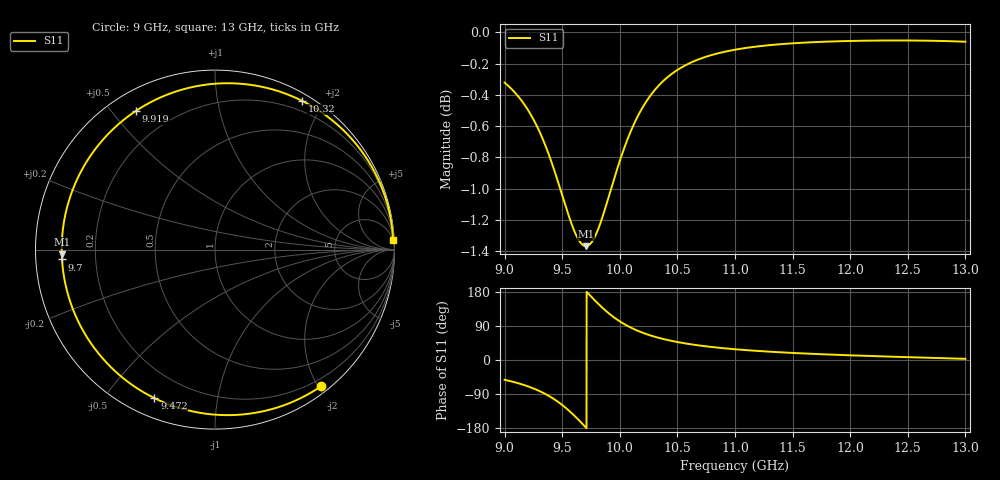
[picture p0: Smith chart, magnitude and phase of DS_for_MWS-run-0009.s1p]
! TOUCHSTONE file generated by CST DESIGN STUDIO
! Date and time: Tue Feb  4 18:28:32 2025
! Project name: C:\Work\MatlabApps\UnitCellOptimizationMatlab\CST\unitcell.cst
! Tree item: Tasks\Sweep1\SPara1\S-Parameters
! Header version: 2024
! Port assignment regex: !\s*Touchstone port\s*([0-9]+)\s*=\s*(CST MWS port|CST DES external port|CST DES block port)\s*(.+)\s* \(\"(.*)\"\)(\s*mode\s*([0-9]+))?.*
! Touchstone port assignment:
! Touchstone port 1 = CST DES external port 1 ("")
# GHz S MA R 50
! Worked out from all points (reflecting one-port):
!   4001 points, 9 GHz to 13 GHz, reference 50 ohm
!   lowest |S11| = -1.4 dB at 9.706 GHz (marker M1), VSWR 12.71, Z = 3.93 - j0.767 ohm
!   phase of S11 starts at -52 deg and turns -305 deg over the sweep
!   S11 on the Smith chart (normalised r, x): 9 GHz: 0.10, -2.04; 9.472 GHz: 0.08, -0.67; 9.7 GHz: 0.08, -0.03; 9.919 GHz: 0.08, +0.58; 10.32 GHz: 0.08, +1.74; 13 GHz: 5, +37
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9  0.9637 -52.2
9.127  0.9531 -62.1
9.247  0.9384 -74.7
9.373  0.9162 -92.8
9.425  0.9048 -102.4
9.472  0.8937 -112.2
9.5  0.8869 -118.7
9.547  0.8757 -130.5
9.593  0.866 -143.3
9.649  0.8574 -160.1
9.7  0.8542 -176.3
9.706  0.8542 -178.2
9.751  0.8562 167.4
9.798  0.8624 152.7
9.859  0.8749 135.1
9.919  0.8897 119.6
10  0.9096 102.0
10.071  0.925 89.3
10.156  0.9401 77.1
10.237  0.9512 67.7
10.324  0.9604 59.6
10.5  0.9727 47.4
10.718  0.9814 37.2
11  0.9874 28.4
11.5  0.992 18.6
12  0.9937 12.3
12.5  0.9941 7.5
13  0.9932 3.1
